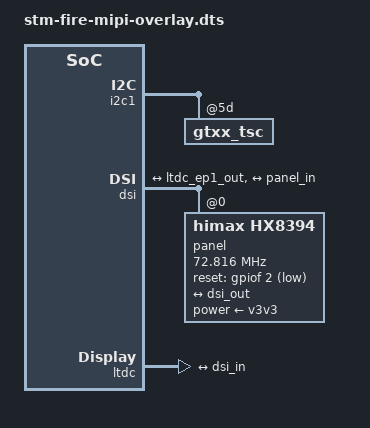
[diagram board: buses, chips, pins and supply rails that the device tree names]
// SPDX-License-Identifier: (GPL-2.0+ OR BSD-3-Clause)
/*
 * Copyright (C) STMicroelectronics 2018 - All Rights Reserved
 * Author: Alexandre Torgue <alexandre.torgue@st.com>.
 */

/dts-v1/;
/plugin/;
//#include "../stm32mp157c.dtsi"
#include <dt-bindings/pinctrl/stm32-pinfunc.h>
#include <dt-bindings/input/input.h>
#include <dt-bindings/mfd/st,stpmic1.h>
#include <dt-bindings/gpio/gpio.h>

/{
	fragment@0{
		target=<&i2c1>;
		__overlay__{
			gtxx_tsc@5d {
				needed_invert;
			};            
		};
	};

	fragment@1{
		target=<&dsi>;
		__overlay__{
			#address-cells = <1>;
			#size-cells = <0>;
			status = "okay";

			ports {
				#address-cells = <1>;
				#size-cells = <0>;

				port@0 {
					reg = <0>;
					dsi_in: endpoint {
						remote-endpoint = <&ltdc_ep1_out>;
					};
				};

				port@1 {
					reg = <1>;
					dsi_out: endpoint {
						remote-endpoint = <&panel_in>;
					};
				};
			};

			panel: panel@0 {
				compatible = "himax,hx8394";
				reg = <0>;
				reset-gpios = <&gpiof 2 GPIO_ACTIVE_LOW>;
				power-supply = <&v3v3>;

				clock-frequency = <72816000>;
				hactive = <720>;
				vactive = <1280>;
				hfront-porch = <95>;
				hback-porch = <55>;
				hsync-len = <55>;
				vback-porch = <24>;
				vfront-porch = <8>;
				vsync-len = <9>;	
				vrefresh = <60>;

				status = "okay";

				port {
					panel_in: endpoint {
						remote-endpoint = <&dsi_out>;
					};
				};
			};

		};
	};

	fragment@2{
		target=<&ltdc>;
		__overlay__{
			status = "okay";

			port {
				#address-cells = <1>;
				#size-cells = <0>;

				ltdc_ep1_out: endpoint@1 {
					reg = <1>;
					remote-endpoint = <&dsi_in>;
				};
			};
		};
	};

};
